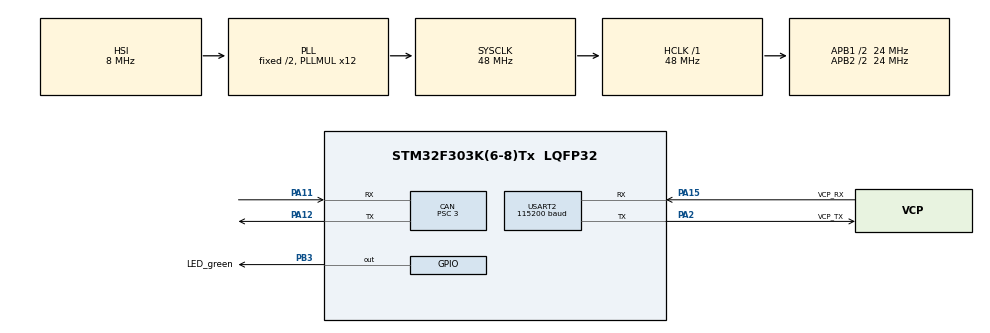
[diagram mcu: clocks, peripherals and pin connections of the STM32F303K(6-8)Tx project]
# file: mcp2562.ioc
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CAN.BS1=CAN_BS1_12TQ
CAN.BS2=CAN_BS2_3TQ
CAN.CalculateBaudRate=500000
CAN.CalculateTimeBit=2000
CAN.CalculateTimeQuantum=125.0
CAN.Prescaler=3
CAN.SJW=CAN_SJW_1TQ
Mcu.Family=STM32F3
Mcu.Name=STM32F303K(6-8)Tx
Mcu.Package=LQFP32
NVIC.CAN_RX0_IRQn=true\:0\:0\:false\:false\:true\:true\:true\:true
NVIC.PriorityGroup=NVIC_PRIORITYGROUP_4
NVIC.TIM1_UP_TIM16_IRQn=true\:0\:0\:false\:false\:true\:true\:true\:true
PA11.Mode=CAN_Activate
PA11.Signal=CAN_RX
PA12.Mode=CAN_Activate
PA12.Signal=CAN_TX
PA13.GPIO_Label=SWDIO
PA13.Mode=Serial_Wire
PA13.Signal=SYS_JTMS-SWDIO
PA14.GPIO_Label=SWCLK
PA14.Mode=Serial_Wire
PA14.Signal=SYS_JTCK-SWCLK
PA15.GPIO_Label=VCP_RX
PA15.Mode=Asynchronous
PA15.Signal=USART2_RX
PA2.GPIO_Label=VCP_TX
PA2.Mode=Asynchronous
PA2.Signal=USART2_TX
PB3.GPIO_Label=LED_green
PB3.Signal=GPIO_Output
PF0\ /\ OSC_IN.GPIO_Label=MCO
PF0\ /\ OSC_IN.Mode=HSE-External-Clock-Source
PF0\ /\ OSC_IN.Signal=RCC_OSC_IN
ProjectManager.HeapSize=0x200
ProjectManager.StackSize=0x400
ProjectManager.TargetToolchain=STM32CubeIDE
RCC.AHBFreq_Value=48000000
RCC.APB1CLKDivider=RCC_HCLK_DIV2
RCC.APB1Freq_Value=24000000
RCC.APB1TimFreq_Value=48000000
RCC.APB2CLKDivider=RCC_HCLK_DIV2
RCC.APB2Freq_Value=24000000
RCC.APB2TimFreq_Value=48000000
RCC.CortexFreq_Value=48000000
RCC.HCLKFreq_Value=48000000
RCC.HSE_VALUE=8000000
RCC.HSI_VALUE=8000000
RCC.PLLMUL=RCC_PLL_MUL12
RCC.SYSCLKFreq_VALUE=48000000
RCC.SYSCLKSourceVirtual=RCC_SYSCLKSOURCE_PLLCLK
TIM1.Period=1000-1
TIM1.Prescaler=48-1
USART2.BaudRate=115200
USART2.VirtualMode-Asynchronous=VM_ASYNC
VP_TIM1_VS_ClockSourceINT.Mode=Internal
board=NUCLEO-F303K8

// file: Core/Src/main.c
/* USER CODE BEGIN Header */
/**
  ******************************************************************************
  * @file           : main.c
  * @brief          : Main program body
  ******************************************************************************
  * @attention
  *
  * Copyright (c) 2023 STMicroelectronics.
  * All rights reserved.
  *
  * This software is licensed under terms that can be found in the LICENSE file
  * in the root directory of this software component.
  * If no LICENSE file comes with this software, it is provided AS-IS.
  *
  ******************************************************************************
  */
/* USER CODE END Header */
#include "main.h"
#include "can.h"
#include "tim.h"
#include "usart.h"
#include "gpio.h"

/* USER CODE BEGIN PV */
CAN_TxHeaderTypeDef TxHeader;
CAN_RxHeaderTypeDef RxHeader;

uint8_t TxData[8];
uint8_t RxData[8];
uint32_t TxMailbox;
/* USER CODE END PV */

void SystemClock_Config(void);

/* USER CODE BEGIN 0 */

// LED for operational acceptance testing
int cnt1kHz = 0;
void HAL_TIM_PeriodElapsedCallback(TIM_HandleTypeDef *htim)
{
  if (htim == &htim1) // interruption 1kHz
  {
	  cnt1kHz = (cnt1kHz + 1) % 1000;

//    if (cnt1kHz == 0)
//    {
//    	Write_GPIO(USER_LED, GPIO_PIN_SET);
//    }
//    else
//    {
//    	Write_GPIO(USER_LED, GPIO_PIN_RESET);
//    }
  }
}

 void HAL_CAN_RxFifo0MsgPendingCallback(CAN_HandleTypeDef *hcan)
{
   if (HAL_CAN_GetRxMessage(hcan, CAN_RX_FIFO0, &RxHeader, RxData) != HAL_OK)
   {
     Error_Handler();
   }
//	 HAL_CAN_GetRxMessage(&hcan, CAN_RX_FIFO0, &RxHeader, RxData);
   printf("id=%d [0]=%d [1]=%d [2]=%d\r\n", RxHeader.StdId, RxData[0], RxData[1], RxData[2]);
   Toggle_GPIO(USER_LED);
 }

uint8_t cnt = 0;
void CAN_Send(){
//			Toggle_GPIO(USER_LED);
			HAL_Delay(100);

		    // F303K8(1)
	        TxHeader.StdId = 0x123;
	        // F303K8(2)
//	        TxHeader.StdId = 0x456;
	        TxHeader.RTR = CAN_RTR_DATA;
	        TxHeader.IDE = CAN_ID_STD;
	        TxHeader.DLC = 8;
	        TxHeader.TransmitGlobalTime = DISABLE;
	        TxData[0] = 100;
	        TxData[1] = 200;
	        TxData[2] = cnt;

//	        if (HAL_CAN_AddTxMessage(&hcan, &TxHeader, TxData, &TxMailbox) != HAL_OK)
//	        {
//	          Error_Handler();
//	        }
//	        while (HAL_CAN_GetTxMailboxesFreeLevel(&hcan) != 3)
//	        {
//	        }

	        if(0 < HAL_CAN_GetTxMailboxesFreeLevel(&hcan)){
	            HAL_CAN_AddTxMessage(&hcan, &TxHeader, TxData, &TxMailbox);
	        }

	        if (cnt > 250)
	        {
	          cnt = 0;
	        }
	        else
	        {
	          cnt++;
	        }
}
/* USER CODE END 0 */

int main(void)
{

  /* MCU Configuration--------------------------------------------------------*/

  /* Reset of all peripherals, Initializes the Flash interface and the Systick. */
  HAL_Init();

  /* Configure the system clock */
  SystemClock_Config();

  /* Initialize all configured peripherals */
  MX_GPIO_Init();
  MX_USART2_UART_Init();
  MX_TIM1_Init();
  MX_CAN_Init();
  /* USER CODE BEGIN 2 */
  HAL_CAN_Start(&hcan);
  if(HAL_CAN_ActivateNotification(&hcan, CAN_IT_RX_FIFO0_MSG_PENDING) != HAL_OK){
	  Error_Handler();
  }

  HAL_TIM_Base_Start_IT(&htim1);
  Write_GPIO(USER_LED, GPIO_PIN_SET);
  /* USER CODE END 2 */

  /* Infinite loop */
  /* USER CODE BEGIN WHILE */
  while (1)
  {
	  CAN_Send();
    /* USER CODE END WHILE */

  }
}

void SystemClock_Config(void)
{
  RCC_OscInitTypeDef RCC_OscInitStruct = {0};
  RCC_ClkInitTypeDef RCC_ClkInitStruct = {0};
  RCC_PeriphCLKInitTypeDef PeriphClkInit = {0};

  /** Initializes the RCC Oscillators according to the specified parameters
  * in the RCC_OscInitTypeDef structure.
  */
  RCC_OscInitStruct.OscillatorType = RCC_OSCILLATORTYPE_HSI;
  RCC_OscInitStruct.HSIState = RCC_HSI_ON;
  RCC_OscInitStruct.HSICalibrationValue = RCC_HSICALIBRATION_DEFAULT;
  RCC_OscInitStruct.PLL.PLLState = RCC_PLL_ON;
  RCC_OscInitStruct.PLL.PLLSource = RCC_PLLSOURCE_HSI;
  RCC_OscInitStruct.PLL.PLLMUL = RCC_PLL_MUL12;
  if (HAL_RCC_OscConfig(&RCC_OscInitStruct) != HAL_OK)
  {
    Error_Handler();
  }

  /** Initializes the CPU, AHB and APB buses clocks
  */
  RCC_ClkInitStruct.ClockType = RCC_CLOCKTYPE_HCLK|RCC_CLOCKTYPE_SYSCLK
                              |RCC_CLOCKTYPE_PCLK1|RCC_CLOCKTYPE_PCLK2;
  RCC_ClkInitStruct.SYSCLKSource = RCC_SYSCLKSOURCE_PLLCLK;
  RCC_ClkInitStruct.AHBCLKDivider = RCC_SYSCLK_DIV1;
  RCC_ClkInitStruct.APB1CLKDivider = RCC_HCLK_DIV2;
  RCC_ClkInitStruct.APB2CLKDivider = RCC_HCLK_DIV2;

  if (HAL_RCC_ClockConfig(&RCC_ClkInitStruct, FLASH_LATENCY_1) != HAL_OK)
  {
    Error_Handler();
  }
  PeriphClkInit.PeriphClockSelection = RCC_PERIPHCLK_TIM1;
  PeriphClkInit.Tim1ClockSelection = RCC_TIM1CLK_HCLK;
  if (HAL_RCCEx_PeriphCLKConfig(&PeriphClkInit) != HAL_OK)
  {
    Error_Handler();
  }
}

void Error_Handler(void)
{
  __disable_irq();
  while (1)
  {
  }
}
